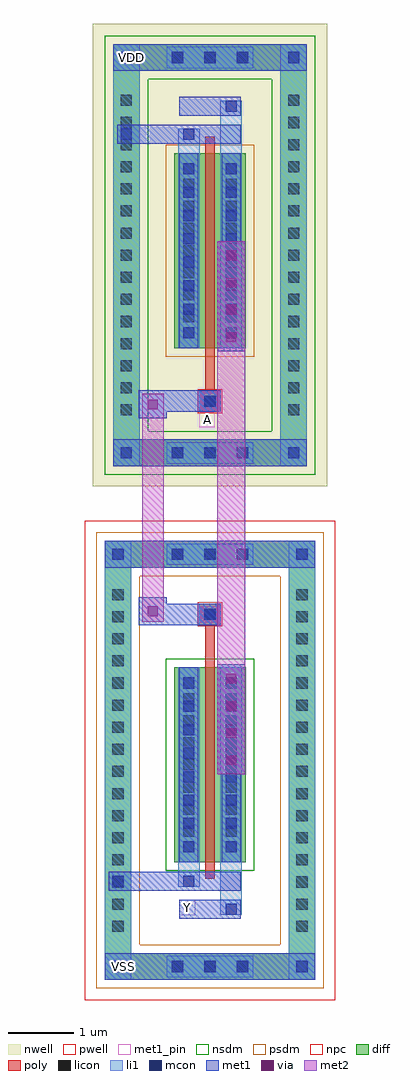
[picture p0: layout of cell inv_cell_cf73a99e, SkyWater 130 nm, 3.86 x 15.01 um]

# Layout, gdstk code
import gdstk
lib = gdstk.Library(unit=1e-6, precision=5e-09)
def R(c, l, rs):  # rectangles x0, y0, x1, y1
    for r in rs: c.add(gdstk.rectangle(r[:2], r[2:], *l))
def A(c, l, x, y, w, h, nx, ny, dx, dy):  # array of equal rectangles
    R(c, l, [(x+i*dx, y+j*dy, x+i*dx+w, y+j*dy+h) for i in range(nx) for j in range(ny)])
def P(c, l, *ps):  # polygons
    for p in ps: c.add(gdstk.Polygon(p, *l))
nwell = (64, 20)
pwell = (64, 44)
diff = (65, 20)
poly = (66, 20)
licon = (66, 44)
li1 = (67, 20)
mcon = (67, 44)
met1_pin = (68, 16)
met1 = (68, 20)
via = (68, 44)
met2 = (69, 20)
nsdm = (93, 44)
psdm = (94, 20)
npc = (95, 20)

inv_cell_cf73a99e = lib.new_cell('inv_cell_cf73a99e')
R(inv_cell_cf73a99e, nwell, [(-1.8,4.215,1.8,11.325)])
R(inv_cell_cf73a99e, pwell, [(-1.93,-3.685,1.93,3.685)])
A(inv_cell_cf73a99e, diff, -0.705, -3.375, 0.41, 0.41, 3, 2, 0.5, 6.34)
A(inv_cell_cf73a99e, diff, -1.62, -2.755, 0.41, 0.41, 1, 16, 0, 0.34)
A(inv_cell_cf73a99e, diff, 1.21, -2.755, 0.41, 0.41, 1, 16, 0, 0.34)
A(inv_cell_cf73a99e, diff, -0.705, 4.525, 0.41, 0.41, 3, 2, 0.5, 6.08)
A(inv_cell_cf73a99e, diff, -1.49, 5.185, 0.41, 0.41, 1, 15, 0, 0.34)
A(inv_cell_cf73a99e, diff, 1.08, 5.185, 0.41, 0.41, 1, 15, 0, 0.34)
R(inv_cell_cf73a99e, diff, [(-0.705,-3.375,0.705,-2.965), (-1.62,-2.755,-1.21,2.755), (1.21,-2.755,1.62,2.755), (-0.55,-1.57,0.55,1.43), (-0.705,2.965,0.705,3.375), (-0.705,4.525,0.705,4.935), (-1.49,5.185,-1.08,10.355), (1.08,5.185,1.49,10.355), (-0.55,6.34,0.55,9.34), (-0.705,10.605,0.705,11.015)])
P(inv_cell_cf73a99e, diff, [(1.49,11.015),(-1.49,11.015),(-1.49,4.935),(-1.08,4.935),(-1.08,10.605),(1.08,10.605),(1.08,4.935),(-1.08,4.935),(-1.49,4.935),(-1.49,4.525),(1.49,4.525)],
  [(1.62,-3.375),(-1.62,-3.375),(-1.62,2.965),(-1.21,2.965),(-1.21,-2.965),(1.21,-2.965),(1.21,2.965),(-1.21,2.965),(-1.62,2.965),(-1.62,3.375),(1.62,3.375)])
R(inv_cell_cf73a99e, poly, [(-0.075,-1.82,0.075,1.68), (-0.075,1.68,0.075,2.08), (-0.165,2.08,0.165,2.41), (-0.165,2.08,0.165,2.41), (-0.165,5.36,0.165,5.69), (-0.165,5.36,0.165,5.69), (-0.075,5.69,0.075,6.09), (-0.075,6.09,0.075,9.59)])
A(inv_cell_cf73a99e, licon, -0.585, -3.255, 0.17, 0.17, 3, 2, 0.5, 6.34)
A(inv_cell_cf73a99e, licon, -1.5, -2.635, 0.17, 0.17, 1, 16, 0, 0.34)
A(inv_cell_cf73a99e, licon, 1.33, -2.635, 0.17, 0.17, 1, 16, 0, 0.34)
A(inv_cell_cf73a99e, licon, -0.41, -1.175, 0.17, 0.17, 1, 7, 0, 0.34)
A(inv_cell_cf73a99e, licon, 0.24, -1.175, 0.17, 0.17, 1, 7, 0, 0.34)
A(inv_cell_cf73a99e, licon, -0.585, 4.645, 0.17, 0.17, 3, 2, 0.5, 6.08)
A(inv_cell_cf73a99e, licon, -1.37, 5.305, 0.17, 0.17, 1, 15, 0, 0.34)
A(inv_cell_cf73a99e, licon, 1.2, 5.305, 0.17, 0.17, 1, 15, 0, 0.34)
A(inv_cell_cf73a99e, licon, -0.41, 6.735, 0.17, 0.17, 1, 7, 0, 0.34)
A(inv_cell_cf73a99e, licon, 0.24, 6.735, 0.17, 0.17, 1, 7, 0, 0.34)
R(inv_cell_cf73a99e, licon, [(-0.085,2.16,0.085,2.33), (-0.085,5.44,0.085,5.61)])
A(inv_cell_cf73a99e, li1, -0.665, -3.335, 0.33, 0.33, 3, 2, 0.5, 6.34)
A(inv_cell_cf73a99e, li1, -1.58, -2.715, 0.33, 0.33, 1, 16, 0, 0.34)
A(inv_cell_cf73a99e, li1, 1.25, -2.715, 0.33, 0.33, 1, 16, 0, 0.34)
A(inv_cell_cf73a99e, li1, -0.41, -1.415, 0.17, 0.17, 1, 8, 0, 0.36)
A(inv_cell_cf73a99e, li1, 0.24, -1.415, 0.17, 0.17, 1, 8, 0, 0.36)
A(inv_cell_cf73a99e, li1, -0.49, -1.255, 0.33, 0.33, 1, 7, 0, 0.34)
A(inv_cell_cf73a99e, li1, 0.16, -1.255, 0.33, 0.33, 1, 7, 0, 0.34)
A(inv_cell_cf73a99e, li1, -0.665, 4.565, 0.33, 0.33, 3, 2, 0.5, 6.08)
A(inv_cell_cf73a99e, li1, -1.45, 5.225, 0.33, 0.33, 1, 15, 0, 0.34)
A(inv_cell_cf73a99e, li1, 1.12, 5.225, 0.33, 0.33, 1, 15, 0, 0.34)
A(inv_cell_cf73a99e, li1, -0.41, 6.495, 0.17, 0.17, 1, 8, 0, 0.36)
A(inv_cell_cf73a99e, li1, 0.24, 6.495, 0.17, 0.17, 1, 8, 0, 0.36)
A(inv_cell_cf73a99e, li1, -0.49, 6.655, 0.33, 0.33, 1, 7, 0, 0.34)
A(inv_cell_cf73a99e, li1, 0.16, 6.655, 0.33, 0.33, 1, 7, 0, 0.34)
R(inv_cell_cf73a99e, li1, [(-1.62,-3.375,-1.21,-2.965), (1.21,-3.375,1.62,-2.965), (-0.665,-3.335,0.665,-3.005), (-1.5,-3.255,-1.33,-3.085), (-1.5,-3.255,-1.33,-3.085), (1.33,-3.255,1.5,-3.085), (1.33,-3.255,1.5,-3.085), (-1.62,-2.965,-1.21,2.965), (1.21,-2.965,1.62,2.965), (0.16,-2.375,0.49,-1.57), (0.24,-2.375,0.41,-2.205), (-1.5,-1.945,-1.33,-1.775), (-0.49,-1.945,-0.16,-1.57), (-0.41,-1.945,-0.24,-1.775), (-0.49,-1.57,-0.16,1.43), (0.16,-1.57,0.49,1.43), (-0.41,-1.415,-0.24,1.275), (0.24,-1.415,0.41,1.275), (-0.165,2.08,0.165,2.41), (-1.62,2.965,-1.21,3.375), (1.21,2.965,1.62,3.375), (-0.665,3.005,0.665,3.335), (-1.5,3.085,-1.33,3.255), (-1.5,3.085,-1.33,3.255), (1.33,3.085,1.5,3.255), (1.33,3.085,1.5,3.255), (-1.49,4.525,-1.08,4.935), (1.08,4.525,1.49,4.935), (-0.665,4.565,0.665,4.895), (-1.37,4.645,-1.2,4.815), (-1.37,4.645,-1.2,4.815), (1.2,4.645,1.37,4.815), (1.2,4.645,1.37,4.815), (-1.49,4.935,-1.08,10.605), (1.08,4.935,1.49,10.605), (-0.165,5.36,0.165,5.69), (-0.49,6.34,-0.16,9.34), (0.16,6.34,0.49,9.34), (-0.41,6.495,-0.24,9.185), (0.24,6.495,0.41,9.185), (-0.49,9.34,-0.16,9.715), (0.16,9.34,0.49,10.145), (-1.37,9.545,-1.2,9.715), (-0.41,9.545,-0.24,9.715), (0.24,9.975,0.41,10.145), (-1.49,10.605,-1.08,11.015), (1.08,10.605,1.49,11.015), (-0.665,10.645,0.665,10.975), (-1.37,10.725,-1.2,10.895), (-1.37,10.725,-1.2,10.895), (1.2,10.725,1.37,10.895), (1.2,10.725,1.37,10.895)])
A(inv_cell_cf73a99e, mcon, -0.585, -3.255, 0.17, 0.17, 3, 2, 0.5, 6.34)
A(inv_cell_cf73a99e, mcon, -0.41, -1.415, 0.17, 0.17, 1, 8, 0, 0.36)
A(inv_cell_cf73a99e, mcon, 0.24, -1.415, 0.17, 0.17, 1, 8, 0, 0.36)
A(inv_cell_cf73a99e, mcon, -0.585, 4.645, 0.17, 0.17, 3, 2, 0.5, 6.08)
A(inv_cell_cf73a99e, mcon, -0.41, 6.495, 0.17, 0.17, 1, 8, 0, 0.36)
A(inv_cell_cf73a99e, mcon, 0.24, 6.495, 0.17, 0.17, 1, 8, 0, 0.36)
R(inv_cell_cf73a99e, mcon, [(-1.5,-3.255,-1.33,-3.085), (1.33,-3.255,1.5,-3.085), (0.24,-2.375,0.41,-2.205), (-1.5,-1.945,-1.33,-1.775), (-0.41,-1.945,-0.24,-1.775), (-0.085,2.16,0.085,2.33), (-1.5,3.085,-1.33,3.255), (1.33,3.085,1.5,3.255), (-1.37,4.645,-1.2,4.815), (1.2,4.645,1.37,4.815), (-0.085,5.44,0.085,5.61), (-1.37,9.545,-1.2,9.715), (-0.41,9.545,-0.24,9.715), (0.24,9.975,0.41,10.145), (-1.37,10.725,-1.2,10.895), (1.2,10.725,1.37,10.895)])
R(inv_cell_cf73a99e, met1_pin, [(-1.45,-3.29,-1.21,-3.05), (-0.47,-2.385,-0.23,-2.145), (-0.165,5.12,0.075,5.36), (-1.32,10.69,-1.08,10.93)])
A(inv_cell_cf73a99e, met1, -0.645, -3.315, 0.29, 0.29, 3, 2, 0.5, 6.34)
A(inv_cell_cf73a99e, met1, -0.47, -1.475, 0.29, 0.29, 1, 8, 0, 0.36)
A(inv_cell_cf73a99e, met1, 0.18, -1.475, 0.29, 0.29, 1, 8, 0, 0.36)
A(inv_cell_cf73a99e, met1, -0.645, 4.585, 0.29, 0.29, 3, 2, 0.5, 6.08)
A(inv_cell_cf73a99e, met1, -0.47, 6.435, 0.29, 0.29, 1, 8, 0, 0.36)
A(inv_cell_cf73a99e, met1, 0.18, 6.435, 0.29, 0.29, 1, 8, 0, 0.36)
R(inv_cell_cf73a99e, met1, [(-1.62,-3.375,-1.21,-2.965), (-1.62,-3.375,-1.21,-2.965), (-1.21,-3.375,1.21,-2.965), (1.21,-3.375,1.62,-2.965), (1.21,-3.375,1.62,-2.965), (-1.56,-3.315,-1.27,-3.025), (1.27,-3.315,1.56,-3.025), (-0.47,-2.435,0.47,-2.145), (0.18,-2.435,0.47,-2.145), (-1.56,-2.005,-1.27,-1.715), (-1.415,-2.005,-0.47,-1.715), (-0.47,-2.005,-0.18,-1.715), (-0.47,-2.005,0.47,-1.715), (-0.47,-1.57,-0.18,1.43), (0.18,-1.57,0.47,1.43), (0.11,-0.215,0.54,0.215), (0.11,-0.215,0.54,0.215), (0.11,0.205,0.54,0.635), (0.11,0.205,0.54,0.635), (0.11,0.625,0.54,1.055), (0.11,0.625,0.54,1.055), (0.11,1.045,0.54,1.475), (0.11,1.045,0.54,1.475), (-1.095,2.08,-0.165,2.41), (-1.095,2.08,-0.665,2.51), (-0.165,2.08,0.165,2.41), (-0.145,2.1,0.145,2.39), (-1.62,2.965,-1.21,3.375), (-1.62,2.965,-1.21,3.375), (-1.21,2.965,1.21,3.375), (1.21,2.965,1.62,3.375), (1.21,2.965,1.62,3.375), (-1.56,3.025,-1.27,3.315), (1.27,3.025,1.56,3.315), (-1.49,4.525,-1.08,4.935), (-1.49,4.525,-1.08,4.935), (-1.08,4.525,1.08,4.935), (1.08,4.525,1.49,4.935), (1.08,4.525,1.49,4.935), (-1.43,4.585,-1.14,4.875), (1.14,4.585,1.43,4.875), (-1.095,5.26,-0.665,5.69), (-1.095,5.36,-0.165,5.69), (-0.165,5.36,0.165,5.69), (-0.145,5.38,0.145,5.67), (0.11,6.295,0.54,6.725), (0.11,6.295,0.54,6.725), (-0.47,6.34,-0.18,9.34), (0.18,6.34,0.47,9.34), (0.11,6.715,0.54,7.145), (0.11,6.715,0.54,7.145), (0.11,7.135,0.54,7.565), (0.11,7.135,0.54,7.565), (0.11,7.555,0.54,7.985), (0.11,7.555,0.54,7.985), (-1.43,9.485,-1.14,9.775), (-1.285,9.485,-0.47,9.775), (-0.47,9.485,-0.18,9.775), (-0.47,9.485,0.47,9.775), (-0.47,9.915,0.47,10.205), (0.18,9.915,0.47,10.205), (-1.49,10.605,-1.08,11.015), (-1.49,10.605,-1.08,11.015), (-1.08,10.605,1.08,11.015), (1.08,10.605,1.49,11.015), (1.08,10.605,1.49,11.015), (-1.43,10.665,-1.14,10.955), (1.14,10.665,1.43,10.955)])
A(inv_cell_cf73a99e, via, 0.25, -0.075, 0.15, 0.15, 1, 4, 0, 0.42)
A(inv_cell_cf73a99e, via, 0.25, 6.435, 0.15, 0.15, 1, 4, 0, 0.42)
R(inv_cell_cf73a99e, via, [(-0.955,2.22,-0.805,2.37), (-0.955,5.4,-0.805,5.55)])
A(inv_cell_cf73a99e, met2, 0.11, -0.215, 0.43, 0.43, 1, 4, 0, 0.42)
A(inv_cell_cf73a99e, met2, 0.16, -0.165, 0.33, 0.33, 1, 4, 0, 0.42)
A(inv_cell_cf73a99e, met2, 0.11, 6.295, 0.43, 0.43, 1, 4, 0, 0.42)
A(inv_cell_cf73a99e, met2, 0.16, 6.345, 0.33, 0.33, 1, 4, 0, 0.42)
R(inv_cell_cf73a99e, met2, [(0.11,-0.215,0.54,7.985), (-1.045,2.13,-0.715,2.46), (-1.045,2.13,-0.715,5.64), (-1.045,5.31,-0.715,5.64)])
P(inv_cell_cf73a99e, met2, [(-0.715,2.13),(-0.715,2.13),(-0.715,2.46),(-0.715,2.46)],
  [(-0.715,5.31),(-0.715,5.31),(-0.715,5.64),(-0.715,5.64)])
R(inv_cell_cf73a99e, nsdm, [(-0.68,-1.7,0.68,1.56)])
P(inv_cell_cf73a99e, nsdm, [(1.62,11.145),(-1.62,11.145),(-1.62,5.065),(-0.95,5.065),(-0.95,10.475),(0.95,10.475),(0.95,5.065),(-0.95,5.065),(-1.62,5.065),(-1.62,4.395),(1.62,4.395)])
R(inv_cell_cf73a99e, psdm, [(-0.68,6.21,0.68,9.47)])
P(inv_cell_cf73a99e, psdm, [(1.75,-3.505),(-1.75,-3.505),(-1.75,2.835),(-1.08,2.835),(-1.08,-2.835),(1.08,-2.835),(1.08,2.835),(-1.08,2.835),(-1.75,2.835),(-1.75,3.505),(1.75,3.505)])
R(inv_cell_cf73a99e, npc, [(-0.185,2.06,0.185,2.43), (-0.185,2.06,0.185,2.43), (-0.185,5.34,0.185,5.71), (-0.185,5.34,0.185,5.71)])
inv_cell_cf73a99e.add(gdstk.Label('Y', (-0.35,-2.265), layer=68, texttype=5))
inv_cell_cf73a99e.add(gdstk.Label('A', (-0.045,5.24), layer=68, texttype=5))
inv_cell_cf73a99e.add(gdstk.Label('VSS', (-1.33,-3.17), layer=68, texttype=5))
inv_cell_cf73a99e.add(gdstk.Label('VDD', (-1.2,10.81), layer=68, texttype=5))

lib.write_gds('inv_cell_cf73a99e.gds')
